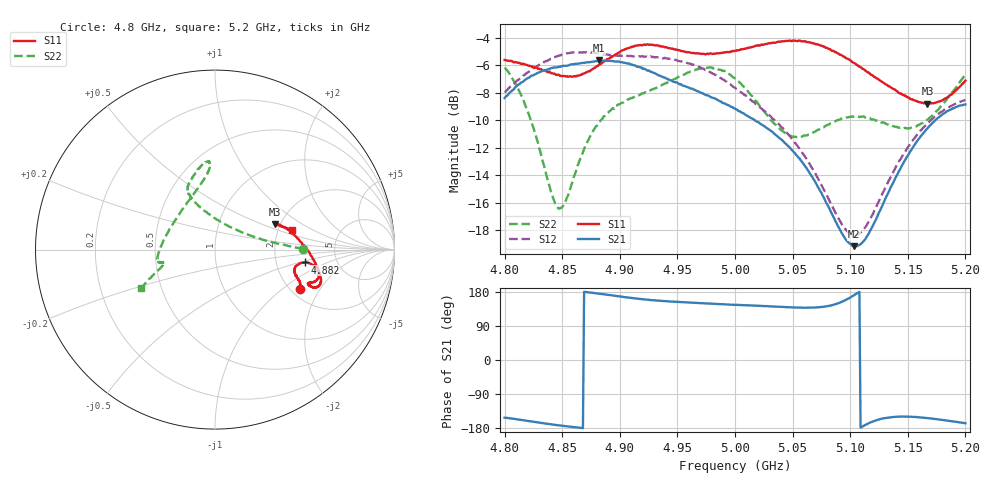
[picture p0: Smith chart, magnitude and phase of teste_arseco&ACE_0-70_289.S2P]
! Network Analyzer HP8722D
! Hewlett-Packard
! Data name: Linha & Wilkinson
! Saver's name: Rodrigo Anjos
! Comments: Teste da utilização de aquisição
! continua pelo VNA HP8722D
! Time and date: 8/5/2025 15:10
!  Frequency  S11  S21  S12  S22
# HZ  S  MA R 50
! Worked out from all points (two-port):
!   401 points, 4.8 GHz to 5.2 GHz, reference 50 ohm
!   highest |S21| = -5.63 dB at 4.882 GHz (marker M1); lowest = -19.2 dB at 5.103 GHz (marker M2)
!   |S21| within 3 dB of the highest: start of sweep to 4.988 GHz
!   lowest |S11| = -8.8 dB at 5.167 GHz (marker M3), VSWR 2.14, Z = 93.7 + j30.8 ohm
!   |S11| at or under -10 dB: nowhere
!   |S22| runs from -16.4 to -6.1 dB; largest |S21 - S12| = 1.1
!   S11 on the Smith chart (normalised r, x): 4.8 GHz: 2.24, -1.37; 4.882 GHz: 2.91, -0.56; 5.2 GHz: 2.36, +0.65
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4.8e9  0.5247 -24.9  0.3814 -152.3  0.3996 7.4  0.4918 0.5
4.818e9  0.5048 -20.6  0.4452 -159.7  0.4662 4.7  0.3579 5.2
4.84e9  0.4707 -17.8  0.489 -169.5  0.5299 1.2  0.175 34.0
4.846e9  0.463 -16.4  0.4937 -172.0  0.5426 0.0  0.1522 55.2
4.853e9  0.4572 -14.7  0.4996 -174.4  0.5529 -1.2  0.1605 80.9
4.867e9  0.4641 -10.8  0.5111 -179.6  0.5584 -3.2  0.2358 107.2
4.882e9  0.504 -8.2  0.523 175.0  0.5545 -4.1  0.3113 114.5
4.911e9  0.5881 -11.7  0.5038 163.5  0.5407 -3.4  0.3816 113.3
4.934e9  0.5899 -16.8  0.4607 156.5  0.5372 -4.1  0.4205 107.4
4.973e9  0.5533 -19.8  0.3943 149.4  0.4874 -7.4  0.4904 95.6
5e9  0.5677 -20.9  0.3493 145.6  0.4164 -7.4  0.4501 94.2
5.018e9  0.5913 -21.1  0.3141 143.4  0.3621 -4.8  0.3718 102.5
5.042e9  0.614 -19.0  0.2648 140.0  0.2944 0.3  0.2875 129.5
5.067e9  0.6048 -14.0  0.1969 138.2  0.2118 8.5  0.2847 165.1
5.093e9  0.5446 -4.8  0.1222 154.2  0.1315 33.3  0.3207 -173.8
5.103e9  0.5131 0.1  0.1099 170.4  0.1203 52.3  0.3258 -170.3
5.114e9  0.4771 5.4  0.1183 -169.9  0.1305 73.7  0.3229 -167.6
5.134e9  0.4203 15.5  0.1754 -151.5  0.1923 94.2  0.3031 -166.6
5.151e9  0.3823 21.5  0.2392 -149.6  0.2556 98.8  0.2954 -164.8
5.167e9  0.3638 23.1  0.2953 -153.3  0.3084 99.5  0.3181 -161.6
5.183e9  0.3804 20.6  0.3383 -159.5  0.3485 99.3  0.3729 -157.5
5.2e9  0.4412 14.6  0.3613 -166.8  0.3757 99.9  0.4637 -152.2
